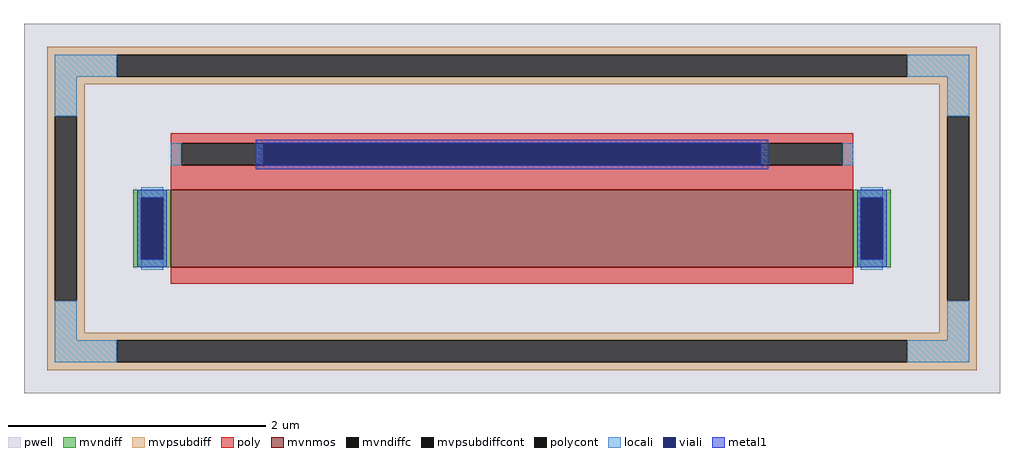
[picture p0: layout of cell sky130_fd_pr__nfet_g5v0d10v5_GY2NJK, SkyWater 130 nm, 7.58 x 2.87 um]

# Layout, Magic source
magic
tech sky130A
magscale 1 2
<< pwell >>
rect -758 -287 758 287
<< mvnmos >>
rect -530 -91 530 29
<< mvndiff >>
rect -588 17 -530 29
rect -588 -79 -576 17
rect -542 -79 -530 17
rect -588 -91 -530 -79
rect 530 17 588 29
rect 530 -79 542 17
rect 576 -79 588 17
rect 530 -91 588 -79
<< mvndiffc >>
rect -576 -79 -542 17
rect 542 -79 576 17
<< mvpsubdiff >>
rect -722 239 722 251
rect -722 205 -614 239
rect 614 205 722 239
rect -722 193 722 205
rect -722 143 -664 193
rect -722 -143 -710 143
rect -676 -143 -664 143
rect 664 143 722 193
rect -722 -193 -664 -143
rect 664 -143 676 143
rect 710 -143 722 143
rect 664 -193 722 -143
rect -722 -205 722 -193
rect -722 -239 -614 -205
rect 614 -239 722 -205
rect -722 -251 722 -239
<< mvpsubdiffcont >>
rect -614 205 614 239
rect -710 -143 -676 143
rect 676 -143 710 143
rect -614 -239 614 -205
<< poly >>
rect -530 101 530 117
rect -530 67 -514 101
rect 514 67 530 101
rect -530 29 530 67
rect -530 -117 530 -91
<< polycont >>
rect -514 67 514 101
<< locali >>
rect -710 205 -614 239
rect 614 205 710 239
rect -710 143 -676 205
rect 676 143 710 205
rect -530 67 -514 101
rect 514 67 530 101
rect -576 17 -542 33
rect -576 -95 -542 -79
rect 542 17 576 33
rect 542 -95 576 -79
rect -710 -205 -676 -143
rect 676 -205 710 -143
rect -710 -239 -614 -205
rect 614 -239 710 -205
<< viali >>
rect -386 67 386 101
rect -576 -79 -542 17
rect 542 -79 576 17
<< metal1 >>
rect -398 101 398 107
rect -398 67 -386 101
rect 386 67 398 101
rect -398 61 398 67
rect -582 17 -536 29
rect -582 -79 -576 17
rect -542 -79 -536 17
rect -582 -91 -536 -79
rect 536 17 582 29
rect 536 -79 542 17
rect 576 -79 582 17
rect 536 -91 582 -79
<< properties >>
string FIXED_BBOX -693 -222 693 222
string gencell sky130_fd_pr__nfet_g5v0d10v5
string library sky130
string parameters w 0.6 l 5.3 m 1 nf 1 diffcov 100 polycov 100 guard 1 glc 1 grc 1 gtc 1 gbc 1 tbcov 100 rlcov 100 topc 1 botc 0 poverlap 0 doverlap 1 lmin 0.50 wmin 0.42 compatible {sky130_fd_pr__nfet_01v8 sky130_fd_pr__nfet_01v8_lvt  sky130_fd_bs_flash__special_sonosfet_star  sky130_fd_pr__nfet_g5v0d10v5 sky130_fd_pr__nfet_05v0_nvt  sky130_fd_pr__nfet_03v3_nvt} full_metal 1 viasrc 100 viadrn 100 viagate 75 viagb 0 viagr 0 viagl 0 viagt 0
<< end >>
